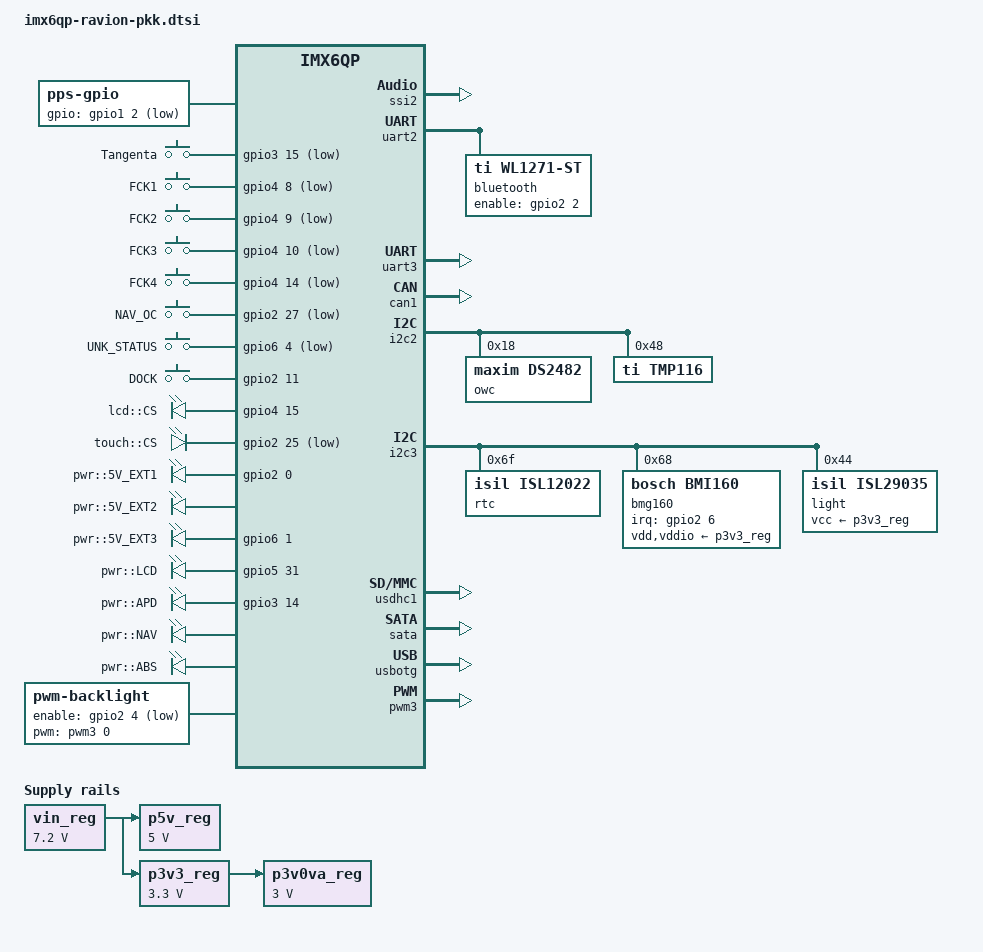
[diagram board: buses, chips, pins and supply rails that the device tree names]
/*
 * Copyright 2018 Radioavionica Corp.
 *
 * Author: Alex A. Mihaylov <minimumlaw@rambler.ru>
 *
 * This program is free software; you can redistribute it and/or modify
 * it under the terms of the GNU General Public License version 2 as
 * published by the Free Software Foundation.
 *
 */

/ {
	/*
	 * Device specific regulators
	 */
	vin_reg: regulator_vin {
		compatible = "regulator-fixed";
		regulator-name = "VIN";
		/* FixMe: 5.0...8.4V input voltage */
		regulator-min-microvolt = <7200000>;
		regulator-max-microvolt = <7200000>;
		regulator-always-on;
	};

	p5v_reg: regulator_5v {
		compatible = "regulator-fixed";
		regulator-name = "+5V";
		regulator-min-microvolt = <5000000>;
		regulator-max-microvolt = <5000000>;
		vin-supply = <&vin_reg>;
		regulator-always-on;
	};

	p3v3_reg: regulator_3v3 {
		compatible = "regulator-fixed";
		regulator-name = "+3.3V";
		regulator-min-microvolt = <3300000>;
		regulator-max-microvolt = <3300000>;
		vin-supply = <&vin_reg>;
		regulator-always-on;
	};

	p3v0va_reg: regulator_3v0va {
		compatible = "regulator-fixed";
		regulator-name = "+3.0VA";
		regulator-min-microvolt = <3000000>;
		regulator-max-microvolt = <3000000>;
		vin-supply = <&p3v3_reg>;
		regulator-always-on;
	};

	bt_reg: regulator_bt {
		regulator-name = "BT";
		regulator-min-microvolt = <1800000>;
		regulator-max-microvolt = <1800000>;
		vin-supply = <&p3v3_reg>;
		gpios = <&gpio2 3 GPIO_ACTIVE_HIGH>;		/* soDimm 117 */
		regulator-always-on;
	};

	pps {
		compatible = "pps-gpio";
		gpios = <&gpio1 2 GPIO_ACTIVE_LOW>;		/* soDimm 055 */
	};

	gpio-keys {
		compatible = "gpio-keys";

		tangenta {
			label = "Tangenta";
			gpios = <&gpio3 15 GPIO_ACTIVE_LOW>;	/* soDimm 120 */
			linux,code = <KEY_F2>;
			debounce-interval = <100>;
			wakeup-source;
		};

		fck1 {
			label = "FCK1";
			gpios = <&gpio4 8 GPIO_ACTIVE_LOW>;	/* soDimm 150 */
			linux,code = <KEY_F9>;
			debounce-interval = <100>;
			wakeup-source;
		};

		fck2 {
			label = "FCK2";
			gpios = <&gpio4 9 GPIO_ACTIVE_LOW>;	/* soDimm 152 */
			linux,code = <KEY_F10>;
			debounce-interval = <100>;
			wakeup-source;
		};

		fck3 {
			label = "FCK3";
			gpios = <&gpio4 10 GPIO_ACTIVE_LOW>;	/* soDimm 154 */
			linux,code = <KEY_F11>;
			debounce-interval = <100>;
			wakeup-source;
		};

		fck4 {
			label = "FCK4";
			gpios = <&gpio4 14 GPIO_ACTIVE_LOW>;	/* soDimm 156 */
			linux,code = <KEY_F12>;
			debounce-interval = <100>;
			wakeup-source;
		};

		nav_oc {
			label = "NAV_OC";
			gpios = <&gpio2 27 GPIO_ACTIVE_LOW>;	/* soDimm 114 */
			linux,code = <KEY_MACRO8>;
			wakeup-source;
		};

		unk_stat {
			label = "UNK_STATUS";
			gpios = <&gpio6  4 GPIO_ACTIVE_LOW>;	/* soDimm 085 */
			linux,code = <KEY_MACRO9>;
			wakeup-source;
		};

		sw_dock {
			label = "DOCK";
			gpios = <&gpio2 11 GPIO_ACTIVE_HIGH>;	/* soDimm 133 */
			linux,code = <SW_DOCK>;
			wakeup-source;
		};
	};

	gpio-leds {
		compatible = "gpio-leds";

		lcd_cs {
			label = "lcd::CS";
			gpios = <&gpio4 15 GPIO_ACTIVE_HIGH>;	/* soDimm 158 */
			default-state = "off";
		};

		touch_cs {
			label = "touch::CS";
			gpios = <&gpio2 25 GPIO_ACTIVE_LOW>;	/* soDimm 110 */
			default-state = "off";
		};

		pwr_5vext1 {
			label = "pwr::5V_EXT1";
			gpios = <&gpio2 0 GPIO_ACTIVE_HIGH>;	/* soDimm 111 */
			default-state = "on";
		};

		pwr_5vext2 {
			label = "pwr::5V_EXT2";
			gpio = <&gpio2 1 GPIO_ACTIVE_HIGH>;	/* soDimm 113 */
			default-state = "on";
		};

		pwr_5vext3 {
			label = "pwr::5V_EXT3";
			gpios = <&gpio6  1 GPIO_ACTIVE_HIGH>;	/* soDimm 160 */
			default-state = "on";
		};

		pwr_LCD {
			label = "pwr::LCD";
			gpios = <&gpio5 31 GPIO_ACTIVE_HIGH>;	/* soDimm 116 */
			default-state = "on";
		};

		pwr_APD {
			label = "pwr::APD";
			gpios = <&gpio3 14 GPIO_ACTIVE_HIGH>;	/* soDimm 118 */
			default-state = "on";
		};

		pwr_NAV {
			label = "pwr::NAV";
			gpio = <&gpio2 26 GPIO_ACTIVE_LOW>;	/* soDimm 112 */
			default-state = "on";
		};

		pwr_ABS {
			label = "pwr::ABS";
			gpio = <&gpio5  9 GPIO_ACTIVE_HIGH>;	/* soDimm 122 */
			default-state = "on";
		};
	};

	backlight: backlight {
		compatible = "pwm-backlight";
		enable-gpios = <&gpio2 4 GPIO_ACTIVE_LOW>; /* soDimm  119 */
		pwms = <&pwm3 0 2000 0>; /* FixMe: frequency !!! */
		brightness-levels = <0 25 51 76 102 127 153 178 204 229 255>;
		default-brightness-level = <9>;
		status = "okay";
	};
};

/*
 * Sound subsystem
 */
&ssi2	{	status = "okay";	};

/*
 * Video subsystem
 */
/* VGA */
&tft_display_bus {	status = "disabled";	};
/* LVDS */
&ldb {			status = "disabled";	};

/*
 * Serial ports
 */
/* &uart1 {	status = "okay";	}; => Allways enabled */
&uart2 {
	status = "okay";


	bluetooth { /* DD19: CC2564CRVM */
		enable-gpios = <&gpio2 2 GPIO_ACTIVE_HIGH>;	/* soDimm 115 */
		compatible = "ti,wl1271-st";
		clocks = <&clk_32k_bt 0>;
		clock-names = "ext_clock";
		max-speed = <3686400>;
		current-speed = <115200>;

		status = "okay";
		clk_32k_bt: bt_clk {
			compatible = "fixed-clock";
			#clock-cells = <0>;
			clock-frequency = <32768>;
			clock-accuracy = <100>;
		};
	};
};
&uart3 {
	status = "okay";
};

/*
 * Controller Area Network (CAN) Bus
 */
&can1 {
	status = "okay";
};

/*
 * I2C Busses
 */
&i2c2 {	/* Compatible I2C: soDimm 194, 196 */
	status = "okay";

	owc: ds2482@18 { /* DS2484: I2C to OneWire Converter */
		status = "okay";
		compatible = "maxim,ds2482";
		reg = <0x18>;
	};

	tmp116@48 {
		compatible = "ti,tmp116";
		reg = <0x48>;
	};
};

&i2c3 { /* Extended I2C: soDimm 128, 130 */
	status = "okay";
	#address-cells = <1>;
	#size-cells = <0>;

	rtc@6f { /* ISL12020: I2C Real Time Clock (battery backup) */
		compatible = "isil,isl12022";
		reg = <0x6f>;
	};

	bmg160@68 {
		compatible = "bosch,bmi160";
		reg = <0x68>;
		vdd-supply = <&p3v3_reg>;
		vddio-supply = <&p3v3_reg>;
		interrupt-parent = <&gpio2>;
		interrupts = <6 (IRQ_TYPE_EDGE_RISING)>;	/* soDimm 123 */
		interrupt-names = "INT1";
	};

	light@44 {
		compatible = "isil,isl29035";
		vcc-supply = <&p3v3_reg>;
		reg = <0x44>;
		interrupt-parent = <&gpio6>;
		interrups = <3 IRQ_TYPE_LEVEL_HIGH>;		/* soDimm 059 */
	};

};

&mipi_csi {
	status = "disabled";
};

/*
 * SPI Bus
 */
&ecspi1 {
	status = "disabled";
};

/*
 * SD/MMC and eMMC controllers
 */
&usdhc1 {	status = "okay";	}; /* compatible */
&usdhc2 {	status = "disabled";	}; /* externed */
/* &usdhc3 {	status = "okay";	}; => eMMC allways enabled */

/*
 * Ethernet controller
 */
/* &fec {	status = "okay";	}; => eth0 allways enabled */

/*
 * Audio (digital part)
 */
/* &audmux {	status = "okay";	}; => Allways enabled */
/* &ssi1 {	status = "okay";	}; => Allways enabled */

/*
 * High-speed serial bus
 */
&pcie {
	status = "disabled";
};

&sata {
	status = "okay";
};

/* &usbh1  {	status = "okay";	}; HOST => Allways enabled */

&usbotg	{ /* OTG */
	status = "okay";
};

&usbh3 { status = "disabled"; }; /* HSIC */

/*
 * PWMs
 */
&pwm3	{	status = "okay";	};
&pwm4	{	status = "disabled";	};

/*
 * Video subsystems
 */
&hdmi	{	status = "disabled";	};
